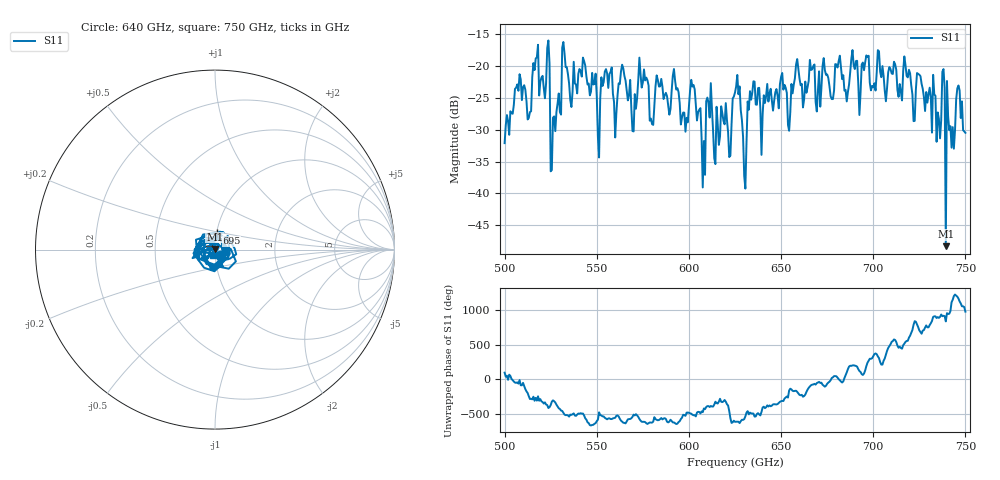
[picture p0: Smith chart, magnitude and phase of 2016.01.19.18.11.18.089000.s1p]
!Created with skrf (http://scikit-rf.org).
# GHz S RI R 50.0
!freq ReS11 ImS11
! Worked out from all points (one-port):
!   401 points, 500 GHz to 750 GHz, reference 50 ohm
!   lowest |S11| = -48.3 dB at 739.4 GHz (marker M1), VSWR 1.01, Z = 49.8 + j0.354 ohm
!   |S11| at or under -10 dB: start of sweep to end of sweep
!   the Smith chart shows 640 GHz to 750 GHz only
!   S11 on the Smith chart (normalised r, x): 640 GHz: 1.06, -0.06; 695 GHz: 1.00, +0.19; 750 GHz: 0.98, -0.06
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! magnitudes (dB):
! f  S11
! 500 GHz  -32.1
! 507.5 GHz  -23.9
! 513.1 GHz  -28.1
! 516.9 GHz  -18.8
! 523.1 GHz  -17.2
! 526.2 GHz  -28.1
! 531.2 GHz  -17.1
! 551.2 GHz  -34.3
! 562.5 GHz  -22.8
! 570 GHz  -30.3
! 576.9 GHz  -21.8
! 580 GHz  -29.1
! 593.8 GHz  -23.5
! 601.9 GHz  -23.2
! 607.5 GHz  -39.1
! 610.6 GHz  -25.8
! 621.9 GHz  -34.3
! 625 GHz  -24.1
! 630 GHz  -37.3
! 634.4 GHz  -24.2
! 640 GHz  -27.5
! 656.2 GHz  -24.3
! 687.5 GHz  -21.0
! 695 GHz  -20.6
! 718.8 GHz  -21.8
! 739.4 GHz  -48.3
! 746.9 GHz  -23.8
! 750 GHz  -30.5
